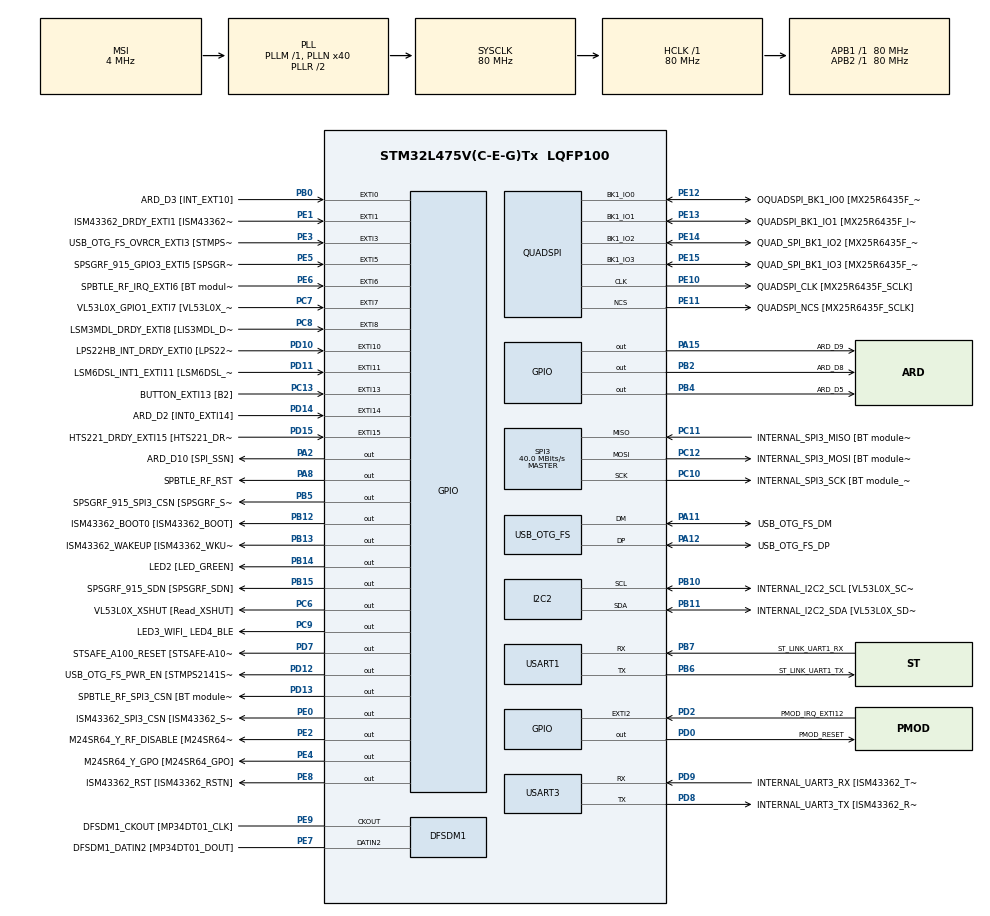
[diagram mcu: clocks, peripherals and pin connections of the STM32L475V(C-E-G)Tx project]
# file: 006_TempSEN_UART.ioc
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Mcu.Family=STM32L4
Mcu.Name=STM32L475V(C-E-G)Tx
Mcu.Package=LQFP100
NVIC.EXTI15_10_IRQn=true\:0\:0\:false\:false\:true\:true\:true\:true
NVIC.EXTI9_5_IRQn=true\:0\:0\:false\:false\:true\:true\:true\:true
NVIC.PriorityGroup=NVIC_PRIORITYGROUP_4
PA0.GPIO_Label=ARD_D1 [UART4_TX]
PA0.Signal=UART4_TX
PA1.GPIO_Label=ARD_D0 [UART4_RX]
PA1.Signal=UART4_RX
PA10.GPIO_Label=USB_OTG_FS_ID
PA10.Signal=USB_OTG_FS_ID
PA11.GPIO_Label=USB_OTG_FS_DM
PA11.Mode=Device_Only
PA11.Signal=USB_OTG_FS_DM
PA12.GPIO_Label=USB_OTG_FS_DP
PA12.Mode=Device_Only
PA12.Signal=USB_OTG_FS_DP
PA13\ (JTMS-SWDIO).GPIO_Label=SYS_JTMS_SWDIO
PA13\ (JTMS-SWDIO).Mode=Serial_Wire
PA13\ (JTMS-SWDIO).Signal=SYS_JTMS-SWDIO
PA14\ (JTCK-SWCLK).GPIO_Label=SYS_JTCK_SWCLK
PA14\ (JTCK-SWCLK).Mode=Serial_Wire
PA14\ (JTCK-SWCLK).Signal=SYS_JTCK-SWCLK
PA15\ (JTDI).GPIO_Label=ARD_D9
PA15\ (JTDI).Signal=GPIO_Output
PA2.GPIO_Label=ARD_D10 [SPI_SSN]
PA2.Signal=GPIO_Output
PA3.GPIO_Label=ARD_D4
PA3.Signal=S_TIM2_CH4
PA4.GPIO_Label=ARD_D7
PA4.Signal=ADCx_IN9
PA5.GPIO_Label=ARD_D13 [SPI1_SCK]
PA5.Signal=SPI1_SCK
PA6.GPIO_Label=ARD_D12 [SPI1_MISO]
PA6.Signal=SPI1_MISO
PA7.GPIO_Label=ARD_D11 [SPI1_MOSI]
PA7.Signal=SPI1_MOSI
PA8.GPIO_Label=SPBTLE_RF_RST
PA8.Signal=GPIO_Output
PA9.GPIO_Label=USB_OTG_FS_VBUS [STMPS2141STR_OUT]
PA9.Signal=USB_OTG_FS_VBUS
PB0.GPIO_Label=ARD_D3 [INT_EXT10]
PB0.Signal=GPXTI0
PB1.GPIO_Label=ARD_D6 [ADC1_IN6]
PB1.Signal=ADCx_IN16
PB10.GPIO_Label=INTERNAL_I2C2_SCL [VL53L0X_SCL]
PB10.GPIO_Pu=GPIO_PULLUP
PB10.Mode=I2C
PB10.Signal=I2C2_SCL
PB11.GPIO_Label=INTERNAL_I2C2_SDA [VL53L0X_SDA]
PB11.GPIO_Pu=GPIO_PULLUP
PB11.Mode=I2C
PB11.Signal=I2C2_SDA
PB12.GPIO_Label=ISM43362_BOOT0 [ISM43362_BOOT]
PB12.Signal=GPIO_Output
PB13.GPIO_Label=ISM43362_WAKEUP [ISM43362_WKUP]
PB13.Signal=GPIO_Output
PB14.GPIO_Label=LED2 [LED_GREEN]
PB14.Signal=GPIO_Output
PB15.GPIO_Label=SPSGRF_915_SDN [SPSGRF_SDN]
PB15.Signal=GPIO_Output
PB2.GPIO_Label=ARD_D8
PB2.Signal=GPIO_Output
PB3\ (JTDO-TRACESWO).GPIO_Label=SYS_JTD0_SWO
PB3\ (JTDO-TRACESWO).Signal=SYS_JTDO-SWO
PB4\ (NJTRST).GPIO_Label=ARD_D5
PB4\ (NJTRST).Signal=GPIO_Output
PB5.GPIO_Label=SPSGRF_915_SPI3_CSN [SPSGRF_SPI_CS]
PB5.PinState=GPIO_PIN_SET
PB5.Signal=GPIO_Output
PB6.GPIO_Label=ST_LINK_UART1_TX
PB6.Mode=Asynchronous
PB6.Signal=USART1_TX
PB7.GPIO_Label=ST_LINK_UART1_RX
PB7.Mode=Asynchronous
PB7.Signal=USART1_RX
PB8.GPIO_Label=ARD_D15 [I2C1_SCL]
PB8.Signal=I2C1_SCL
PB9.GPIO_Label=ARD_D14 [I2C1_SDA]
PB9.Signal=I2C1_SDA
PC0.GPIO_Label=ARD_A5 [ADC]
PC0.Signal=ADCx_IN1
PC1.GPIO_Label=ARD_A4 [ADC]
PC1.Signal=ADCx_IN2
PC10.GPIO_Label=INTERNAL_SPI3_SCK [BT module_SPI_SCLK] [ISM43362_SCK]
PC10.Mode=Full_Duplex_Master
PC10.Signal=SPI3_SCK
PC11.GPIO_Label=INTERNAL_SPI3_MISO [BT module_SPI_MISO] [ISM43362_MISO]
PC11.Mode=Full_Duplex_Master
PC11.Signal=SPI3_MISO
PC12.GPIO_Label=INTERNAL_SPI3_MOSI [BT module_SPI_MOSI] [ISM43362_MOSI]
PC12.Mode=Full_Duplex_Master
PC12.Signal=SPI3_MOSI
PC13.GPIO_Label=BUTTON_EXTI13 [B2]
PC13.GPIO_ModeDefaultEXTI=GPIO_MODE_IT_FALLING
PC13.Signal=GPXTI13
PC14-OSC32_IN\ (PC14).Mode=LSE-External-Oscillator
PC14-OSC32_IN\ (PC14).Signal=RCC_OSC32_IN
PC15-OSC32_OUT\ (PC15).Mode=LSE-External-Oscillator
PC15-OSC32_OUT\ (PC15).Signal=RCC_OSC32_OUT
PC2.GPIO_Label=ARD_A3 [ADC]
PC2.Signal=ADCx_IN3
PC3.GPIO_Label=ARD_A2 [ADC]
PC3.Signal=ADCx_IN4
PC4.GPIO_Label=ARD_A1 [ADC]
PC4.Signal=ADCx_IN13
PC5.GPIO_Label=ARD_A0 [ADC]
PC5.Signal=ADCx_IN14
PC6.GPIO_Label=VL53L0X_XSHUT [Read_XSHUT]
PC6.Signal=GPIO_Output
PC7.GPIO_Label=VL53L0X_GPIO1_EXTI7 [VL53L0X_GPIO1]
PC7.Signal=GPXTI7
PC8.GPIO_Label=LSM3MDL_DRDY_EXTI8 [LIS3MDL_DRDY]
PC8.Signal=GPXTI8
PC9.GPIO_Label=LED3_WIFI_ LED4_BLE
PC9.Signal=GPIO_Output
PD0.GPIO_Label=PMOD_RESET
PD0.Signal=GPIO_Output
PD1.GPIO_Label=PMOD_SPI2_SCK
PD1.Signal=SPI2_SCK
PD10.GPIO_Label=LPS22HB_INT_DRDY_EXTI0 [LPS22HB_INT_DRDY] 
PD10.Signal=GPXTI10
PD11.GPIO_Label=LSM6DSL_INT1_EXTI11 [LSM6DSL_INT1]
PD11.Signal=GPXTI11
PD12.GPIO_Label=USB_OTG_FS_PWR_EN [STMPS2141STR_EN]
PD12.Signal=GPIO_Output
PD13.GPIO_Label=SPBTLE_RF_SPI3_CSN [BT module_SPI_CS]
PD13.PinState=GPIO_PIN_SET
PD13.Signal=GPIO_Output
PD14.GPIO_Label=ARD_D2 [INT0_EXTI14]
PD14.Signal=GPXTI14
PD15.GPIO_Label=HTS221_DRDY_EXTI15 [HTS221_DRDY]
PD15.Signal=GPXTI15
PD2.GPIO_Label=PMOD_IRQ_EXTI12
PD2.Signal=GPXTI2
PD3.GPIO_Label=PMOD_UART2_CTS
PD3.Signal=USART2_CTS
PD4.GPIO_Label=PMOD_UART2_RTS
PD4.Signal=USART2_RTS
PD5.GPIO_Label=PMOD_UART2_TX
PD5.Signal=USART2_TX
PD6.GPIO_Label=PMOD_UART2_RX
PD6.Signal=USART2_RX
PD7.GPIO_Label=STSAFE_A100_RESET [STSAFE-A100_RESET]
PD7.Signal=GPIO_Output
PD8.GPIO_Label=INTERNAL_UART3_TX [ISM43362_RX]
PD8.Mode=Asynchronous
PD8.Signal=USART3_TX
PD9.GPIO_Label=INTERNAL_UART3_RX [ISM43362_TX]
PD9.Mode=Asynchronous
PD9.Signal=USART3_RX
PE0.GPIO_Label=ISM43362_SPI3_CSN [ISM43362_SSN]
PE0.PinState=GPIO_PIN_SET
PE0.Signal=GPIO_Output
PE1.GPIO_Label=ISM43362_DRDY_EXTI1 [ISM43362_DATARDY]
PE1.Signal=GPXTI1
PE10.GPIO_Label=QUADSPI_CLK [MX25R6435F_SCLK]
PE10.Mode=Single Bank
PE10.Signal=QUADSPI_CLK
PE11.GPIO_Label=QUADSPI_NCS [MX25R6435F_SCLK]
PE11.Mode=Single Bank
PE11.Signal=QUADSPI_NCS
PE12.GPIO_Label=OQUADSPI_BK1_IO0 [MX25R6435F_IO0]
PE12.Mode=Single Bank
PE12.Signal=QUADSPI_BK1_IO0
PE13.GPIO_Label=QUADSPI_BK1_IO1 [MX25R6435F_IO1]
PE13.Mode=Single Bank
PE13.Signal=QUADSPI_BK1_IO1
PE14.GPIO_Label=QUAD_SPI_BK1_IO2 [MX25R6435F_IO2]
PE14.Mode=Single Bank
PE14.Signal=QUADSPI_BK1_IO2
PE15.GPIO_Label=QUAD_SPI_BK1_IO3 [MX25R6435F_IO3]
PE15.Mode=Single Bank
PE15.Signal=QUADSPI_BK1_IO3
PE2.GPIO_Label=M24SR64_Y_RF_DISABLE [M24SR64_RFDIS]
PE2.Signal=GPIO_Output
PE3.GPIO_Label=USB_OTG_FS_OVRCR_EXTI3 [STMPS2141STR_FAULT]
PE3.Signal=GPXTI3
PE4.GPIO_Label=M24SR64_Y_GPO [M24SR64_GPO]
PE4.Signal=GPIO_Output
PE5.GPIO_Label=SPSGRF_915_GPIO3_EXTI5 [SPSGRF_GPIO_3]
PE5.Signal=GPXTI5
PE6.GPIO_Label=SPBTLE_RF_IRQ_EXTI6 [BT module_SPI_IRQ]
PE6.Signal=GPXTI6
PE7.GPIO_Label=DFSDM1_DATIN2 [MP34DT01_DOUT]
PE7.Signal=S_DATAIN2DFSDM1
PE8.GPIO_Label=ISM43362_RST [ISM43362_RSTN]
PE8.Signal=GPIO_Output
PE9.GPIO_Label=DFSDM1_CKOUT [MP34DT01_CLK]
PE9.Signal=S_CKOUTDFSDM1
ProjectManager.HeapSize=0x200
ProjectManager.StackSize=0x400
ProjectManager.TargetToolchain=STM32CubeIDE
QUADSPI.ClockPrescaler=2
QUADSPI.FifoThreshold=4
QUADSPI.FlashSize=23
QUADSPI.SampleShifting=QSPI_SAMPLE_SHIFTING_HALFCYCLE
RCC.ADCFreq_Value=48000000
RCC.AHBFreq_Value=80000000
RCC.APB1Freq_Value=80000000
RCC.APB1TimFreq_Value=80000000
RCC.APB2Freq_Value=80000000
RCC.APB2TimFreq_Value=80000000
RCC.CortexFreq_Value=80000000
RCC.HCLKFreq_Value=80000000
RCC.HSE_VALUE=8000000
RCC.HSI_VALUE=16000000
RCC.MSI_VALUE=4000000
RCC.PLLN=40
RCC.PLLSAI1N=24
RCC.SYSCLKFreq_VALUE=80000000
RCC.SYSCLKSource=RCC_SYSCLKSOURCE_PLLCLK
RCC.USBFreq_Value=48000000
RCC.VCOOutputFreq_Value=160000000
SH.ADCx_IN1.0=ADC1_IN1
SH.ADCx_IN13.0=ADC1_IN13
SH.ADCx_IN14.0=ADC1_IN14
SH.ADCx_IN16.0=ADC1_IN16
SH.ADCx_IN2.0=ADC1_IN2
SH.ADCx_IN3.0=ADC1_IN3
SH.ADCx_IN4.0=ADC1_IN4
SH.ADCx_IN9.0=ADC1_IN9
SH.S_CKOUTDFSDM1.0=DFSDM1_CKOUT,CKOUT
SH.S_CKOUTDFSDM1.1=DFSDM1_CKOUT,PDM_SPI_Input_from_ch12_and_Internal_Clock
SH.S_DATAIN2DFSDM1.0=DFSDM1_DATIN2,PDM_SPI_Input_from_ch12_and_Internal_Clock
SH.S_TIM2_CH4.0=TIM2_CH4
SPI3.CalculateBaudRate=40.0 MBits/s
SPI3.Direction=SPI_DIRECTION_2LINES
SPI3.Mode=SPI_MODE_MASTER
SPI3.VirtualType=VM_MASTER
USART1.VirtualMode-Asynchronous=VM_ASYNC
USART3.VirtualMode-Asynchronous=VM_ASYNC
USB_OTG_FS.VirtualMode=Device_Only
board=B-L475E-IOT01A2

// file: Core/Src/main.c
/* USER CODE BEGIN Header */
/**
  ******************************************************************************
  * @file           : main.c
  * @brief          : Main program body
  ******************************************************************************
  * @attention
  *
  * Copyright (c) 2024 STMicroelectronics.
  * All rights reserved.
  *
  * This software is licensed under terms that can be found in the LICENSE file
  * in the root directory of this software component.
  * If no LICENSE file comes with this software, it is provided AS-IS.
  *
  ******************************************************************************
  */
/* USER CODE END Header */
#include "main.h"

/* USER CODE BEGIN Includes */
#include "stm32l475e_iot01.h"
#include "stm32l475e_iot01_tsensor.h"
#include <math.h>
/* USER CODE END Includes */

DFSDM_Channel_HandleTypeDef hdfsdm1_channel1;

I2C_HandleTypeDef hi2c2;

QSPI_HandleTypeDef hqspi;

SPI_HandleTypeDef hspi3;

UART_HandleTypeDef huart1;
UART_HandleTypeDef huart3;

PCD_HandleTypeDef hpcd_USB_OTG_FS;

/* USER CODE BEGIN PV */
float temp_value = 0;  // Measured temperature value
char str_tmp[100] = ""; // Formatted message to display the temperature value
uint8_t msg0[] = "$$$$$$ A Project by @Balaji303 $$$$$$\n\n\r";
uint8_t msg1[] = "****** Temperature values measurement ******\n\n\r";
uint8_t msg2[] = "=====> Initialize Temperature sensor HTS221 \r\n";
uint8_t msg3[] = "=====> Temperature sensor HTS221 initialized \r\n ";

uint8_t art0[] = "       ,.,\r\n ";
uint8_t art1[] = "      MMMM_    ,..,\r\n ";
uint8_t art2[] = "        \"_ \"__\"MMMMM          ,...,,\r\n ";
uint8_t art3[] = " ,..., __.\" --\"    ,.,     _-\"MMMMMMM\r\n ";
uint8_t art4[] = "MMMMMM\"___ \"_._   MMM\"_.\"\" _ \"\"\"\"\"\"\r\n ";
uint8_t art5[] = "  \"\"\"\"\"    \"\" , \_.   \"_. .\"\r\n ";
uint8_t art6[] = "        ,., _\"__ \__./ .\"\r\n ";
uint8_t art7[] = "       MMMMM_\"  \"_    ./\r\n ";
uint8_t art8[] = "        ''''      (    )\r\n ";
uint8_t art9[] = " ._______________.-'____\"---._.\r\n ";
uint8_t art10[] = "  \\       @Balaji303         /\r\n ";
uint8_t art11[] = "   \\________________________/\r\n";
uint8_t art12[] = "    (_)                    (_)\r\n ";

/* USER CODE END PV */

void SystemClock_Config(void);
static void MX_GPIO_Init(void);
static void MX_DFSDM1_Init(void);
static void MX_I2C2_Init(void);
static void MX_QUADSPI_Init(void);
static void MX_SPI3_Init(void);
static void MX_USART1_UART_Init(void);
static void MX_USART3_UART_Init(void);
static void MX_USB_OTG_FS_PCD_Init(void);

int main(void)
{

  /* MCU Configuration--------------------------------------------------------*/

  /* Reset of all peripherals, Initializes the Flash interface and the Systick. */
  HAL_Init();

  /* Configure the system clock */
  SystemClock_Config();

  /* Initialize all configured peripherals */
  MX_GPIO_Init();
  MX_DFSDM1_Init();
  MX_I2C2_Init();
  MX_QUADSPI_Init();
  MX_SPI3_Init();
  MX_USART1_UART_Init();
  MX_USART3_UART_Init();
  MX_USB_OTG_FS_PCD_Init();
  /* USER CODE BEGIN 2 */
  HAL_UART_Transmit(&huart1,art0,sizeof(art0),1000);
  HAL_UART_Transmit(&huart1,art1,sizeof(art1),1000);
  HAL_UART_Transmit(&huart1,art2,sizeof(art2),1000);
  HAL_UART_Transmit(&huart1,art3,sizeof(art3),1000);
  HAL_UART_Transmit(&huart1,art4,sizeof(art4),1000);
  HAL_UART_Transmit(&huart1,art5,sizeof(art5),1000);
  HAL_UART_Transmit(&huart1,art6,sizeof(art6),1000);
  HAL_UART_Transmit(&huart1,art7,sizeof(art7),1000);
  HAL_UART_Transmit(&huart1,art8,sizeof(art8),1000);
  HAL_UART_Transmit(&huart1,art9,sizeof(art9),1000);
  HAL_UART_Transmit(&huart1,art10,sizeof(art10),1000);
  HAL_UART_Transmit(&huart1,art11,sizeof(art11),1000);
  HAL_UART_Transmit(&huart1,art12,sizeof(art12),1000);

  HAL_UART_Transmit(&huart1,msg0,sizeof(msg1),1000);
  HAL_UART_Transmit(&huart1,msg1,sizeof(msg1),1000);
  HAL_UART_Transmit(&huart1,msg2,sizeof(msg2),1000);
  BSP_TSENSOR_Init();
  HAL_UART_Transmit(&huart1,msg3,sizeof(msg3),1000);
  /* USER CODE END 2 */

  /* Infinite loop */
  while (1)
  {

    /* USER CODE BEGIN 3 */
	  temp_value = BSP_TSENSOR_ReadTemp();
	  int tmpInt1 = temp_value;
	  float tmpFrac = temp_value - tmpInt1;
	  int tmpInt2 = trunc(tmpFrac * 100);
	  snprintf(str_tmp,100," TEMPERATURE = %d.%02d\n\r", tmpInt1, tmpInt2);
	  HAL_UART_Transmit(&huart1,( uint8_t *)str_tmp,sizeof(str_tmp),1000);
	  HAL_Delay(1000);
  }
  /* USER CODE END 3 */
}

void SystemClock_Config(void)
{
  RCC_OscInitTypeDef RCC_OscInitStruct = {0};
  RCC_ClkInitTypeDef RCC_ClkInitStruct = {0};

  /** Configure the main internal regulator output voltage
  */
  if (HAL_PWREx_ControlVoltageScaling(PWR_REGULATOR_VOLTAGE_SCALE1) != HAL_OK)
  {
    Error_Handler();
  }

  /** Configure LSE Drive Capability
  */
  HAL_PWR_EnableBkUpAccess();
  __HAL_RCC_LSEDRIVE_CONFIG(RCC_LSEDRIVE_LOW);

  /** Initializes the RCC Oscillators according to the specified parameters
  * in the RCC_OscInitTypeDef structure.
  */
  RCC_OscInitStruct.OscillatorType = RCC_OSCILLATORTYPE_LSE|RCC_OSCILLATORTYPE_MSI;
  RCC_OscInitStruct.LSEState = RCC_LSE_ON;
  RCC_OscInitStruct.MSIState = RCC_MSI_ON;
  RCC_OscInitStruct.MSICalibrationValue = 0;
  RCC_OscInitStruct.MSIClockRange = RCC_MSIRANGE_6;
  RCC_OscInitStruct.PLL.PLLState = RCC_PLL_ON;
  RCC_OscInitStruct.PLL.PLLSource = RCC_PLLSOURCE_MSI;
  RCC_OscInitStruct.PLL.PLLM = 1;
  RCC_OscInitStruct.PLL.PLLN = 40;
  RCC_OscInitStruct.PLL.PLLP = RCC_PLLP_DIV7;
  RCC_OscInitStruct.PLL.PLLQ = RCC_PLLQ_DIV2;
  RCC_OscInitStruct.PLL.PLLR = RCC_PLLR_DIV2;
  if (HAL_RCC_OscConfig(&RCC_OscInitStruct) != HAL_OK)
  {
    Error_Handler();
  }

  /** Initializes the CPU, AHB and APB buses clocks
  */
  RCC_ClkInitStruct.ClockType = RCC_CLOCKTYPE_HCLK|RCC_CLOCKTYPE_SYSCLK
                              |RCC_CLOCKTYPE_PCLK1|RCC_CLOCKTYPE_PCLK2;
  RCC_ClkInitStruct.SYSCLKSource = RCC_SYSCLKSOURCE_PLLCLK;
  RCC_ClkInitStruct.AHBCLKDivider = RCC_SYSCLK_DIV1;
  RCC_ClkInitStruct.APB1CLKDivider = RCC_HCLK_DIV1;
  RCC_ClkInitStruct.APB2CLKDivider = RCC_HCLK_DIV1;

  if (HAL_RCC_ClockConfig(&RCC_ClkInitStruct, FLASH_LATENCY_4) != HAL_OK)
  {
    Error_Handler();
  }

  /** Enable MSI Auto calibration
  */
  HAL_RCCEx_EnableMSIPLLMode();
}

static void MX_DFSDM1_Init(void)
{

  hdfsdm1_channel1.Instance = DFSDM1_Channel1;
  hdfsdm1_channel1.Init.OutputClock.Activation = ENABLE;
  hdfsdm1_channel1.Init.OutputClock.Selection = DFSDM_CHANNEL_OUTPUT_CLOCK_SYSTEM;
  hdfsdm1_channel1.Init.OutputClock.Divider = 2;
  hdfsdm1_channel1.Init.Input.Multiplexer = DFSDM_CHANNEL_EXTERNAL_INPUTS;
  hdfsdm1_channel1.Init.Input.DataPacking = DFSDM_CHANNEL_STANDARD_MODE;
  hdfsdm1_channel1.Init.Input.Pins = DFSDM_CHANNEL_FOLLOWING_CHANNEL_PINS;
  hdfsdm1_channel1.Init.SerialInterface.Type = DFSDM_CHANNEL_SPI_RISING;
  hdfsdm1_channel1.Init.SerialInterface.SpiClock = DFSDM_CHANNEL_SPI_CLOCK_INTERNAL;
  hdfsdm1_channel1.Init.Awd.FilterOrder = DFSDM_CHANNEL_FASTSINC_ORDER;
  hdfsdm1_channel1.Init.Awd.Oversampling = 1;
  hdfsdm1_channel1.Init.Offset = 0;
  hdfsdm1_channel1.Init.RightBitShift = 0x00;
  if (HAL_DFSDM_ChannelInit(&hdfsdm1_channel1) != HAL_OK)
  {
    Error_Handler();
  }

}

static void MX_I2C2_Init(void)
{

  hi2c2.Instance = I2C2;
  hi2c2.Init.Timing = 0x00000E14;
  hi2c2.Init.OwnAddress1 = 0;
  hi2c2.Init.AddressingMode = I2C_ADDRESSINGMODE_7BIT;
  hi2c2.Init.DualAddressMode = I2C_DUALADDRESS_DISABLE;
  hi2c2.Init.OwnAddress2 = 0;
  hi2c2.Init.OwnAddress2Masks = I2C_OA2_NOMASK;
  hi2c2.Init.GeneralCallMode = I2C_GENERALCALL_DISABLE;
  hi2c2.Init.NoStretchMode = I2C_NOSTRETCH_DISABLE;
  if (HAL_I2C_Init(&hi2c2) != HAL_OK)
  {
    Error_Handler();
  }

  /** Configure Analogue filter
  */
  if (HAL_I2CEx_ConfigAnalogFilter(&hi2c2, I2C_ANALOGFILTER_ENABLE) != HAL_OK)
  {
    Error_Handler();
  }

  /** Configure Digital filter
  */
  if (HAL_I2CEx_ConfigDigitalFilter(&hi2c2, 0) != HAL_OK)
  {
    Error_Handler();
  }

}

static void MX_QUADSPI_Init(void)
{

  /* QUADSPI parameter configuration*/
  hqspi.Instance = QUADSPI;
  hqspi.Init.ClockPrescaler = 2;
  hqspi.Init.FifoThreshold = 4;
  hqspi.Init.SampleShifting = QSPI_SAMPLE_SHIFTING_HALFCYCLE;
  hqspi.Init.FlashSize = 23;
  hqspi.Init.ChipSelectHighTime = QSPI_CS_HIGH_TIME_1_CYCLE;
  hqspi.Init.ClockMode = QSPI_CLOCK_MODE_0;
  if (HAL_QSPI_Init(&hqspi) != HAL_OK)
  {
    Error_Handler();
  }

}

static void MX_SPI3_Init(void)
{

  /* SPI3 parameter configuration*/
  hspi3.Instance = SPI3;
  hspi3.Init.Mode = SPI_MODE_MASTER;
  hspi3.Init.Direction = SPI_DIRECTION_2LINES;
  hspi3.Init.DataSize = SPI_DATASIZE_4BIT;
  hspi3.Init.CLKPolarity = SPI_POLARITY_LOW;
  hspi3.Init.CLKPhase = SPI_PHASE_1EDGE;
  hspi3.Init.NSS = SPI_NSS_SOFT;
  hspi3.Init.BaudRatePrescaler = SPI_BAUDRATEPRESCALER_2;
  hspi3.Init.FirstBit = SPI_FIRSTBIT_MSB;
  hspi3.Init.TIMode = SPI_TIMODE_DISABLE;
  hspi3.Init.CRCCalculation = SPI_CRCCALCULATION_DISABLE;
  hspi3.Init.CRCPolynomial = 7;
  hspi3.Init.CRCLength = SPI_CRC_LENGTH_DATASIZE;
  hspi3.Init.NSSPMode = SPI_NSS_PULSE_ENABLE;
  if (HAL_SPI_Init(&hspi3) != HAL_OK)
  {
    Error_Handler();
  }

}

static void MX_USART1_UART_Init(void)
{

  huart1.Instance = USART1;
  huart1.Init.BaudRate = 115200;
  huart1.Init.WordLength = UART_WORDLENGTH_8B;
  huart1.Init.StopBits = UART_STOPBITS_1;
  huart1.Init.Parity = UART_PARITY_NONE;
  huart1.Init.Mode = UART_MODE_TX_RX;
  huart1.Init.HwFlowCtl = UART_HWCONTROL_NONE;
  huart1.Init.OverSampling = UART_OVERSAMPLING_16;
  huart1.Init.OneBitSampling = UART_ONE_BIT_SAMPLE_DISABLE;
  huart1.AdvancedInit.AdvFeatureInit = UART_ADVFEATURE_NO_INIT;
  if (HAL_UART_Init(&huart1) != HAL_OK)
  {
    Error_Handler();
  }

}

static void MX_USART3_UART_Init(void)
{

  huart3.Instance = USART3;
  huart3.Init.BaudRate = 115200;
  huart3.Init.WordLength = UART_WORDLENGTH_8B;
  huart3.Init.StopBits = UART_STOPBITS_1;
  huart3.Init.Parity = UART_PARITY_NONE;
  huart3.Init.Mode = UART_MODE_TX_RX;
  huart3.Init.HwFlowCtl = UART_HWCONTROL_NONE;
  huart3.Init.OverSampling = UART_OVERSAMPLING_16;
  huart3.Init.OneBitSampling = UART_ONE_BIT_SAMPLE_DISABLE;
  huart3.AdvancedInit.AdvFeatureInit = UART_ADVFEATURE_NO_INIT;
  if (HAL_UART_Init(&huart3) != HAL_OK)
  {
    Error_Handler();
  }

}

static void MX_USB_OTG_FS_PCD_Init(void)
{

  hpcd_USB_OTG_FS.Instance = USB_OTG_FS;
  hpcd_USB_OTG_FS.Init.dev_endpoints = 6;
  hpcd_USB_OTG_FS.Init.speed = PCD_SPEED_FULL;
  hpcd_USB_OTG_FS.Init.phy_itface = PCD_PHY_EMBEDDED;
  hpcd_USB_OTG_FS.Init.Sof_enable = DISABLE;
  hpcd_USB_OTG_FS.Init.low_power_enable = DISABLE;
  hpcd_USB_OTG_FS.Init.lpm_enable = DISABLE;
  hpcd_USB_OTG_FS.Init.battery_charging_enable = DISABLE;
  hpcd_USB_OTG_FS.Init.use_dedicated_ep1 = DISABLE;
  hpcd_USB_OTG_FS.Init.vbus_sensing_enable = DISABLE;
  if (HAL_PCD_Init(&hpcd_USB_OTG_FS) != HAL_OK)
  {
    Error_Handler();
  }

}

static void MX_GPIO_Init(void)
{
  GPIO_InitTypeDef GPIO_InitStruct = {0};

  /* GPIO Ports Clock Enable */
  __HAL_RCC_GPIOE_CLK_ENABLE();
  __HAL_RCC_GPIOC_CLK_ENABLE();
  __HAL_RCC_GPIOA_CLK_ENABLE();
  __HAL_RCC_GPIOB_CLK_ENABLE();
  __HAL_RCC_GPIOD_CLK_ENABLE();

  /*Configure GPIO pin Output Level */
  HAL_GPIO_WritePin(GPIOE, M24SR64_Y_RF_DISABLE_Pin|M24SR64_Y_GPO_Pin|ISM43362_RST_Pin, GPIO_PIN_RESET);

  /*Configure GPIO pin Output Level */
  HAL_GPIO_WritePin(GPIOA, ARD_D10_Pin|SPBTLE_RF_RST_Pin|ARD_D9_Pin, GPIO_PIN_RESET);

  /*Configure GPIO pin Output Level */
  HAL_GPIO_WritePin(GPIOB, ARD_D8_Pin|ISM43362_BOOT0_Pin|ISM43362_WAKEUP_Pin|LED2_Pin
                          |SPSGRF_915_SDN_Pin|ARD_D5_Pin, GPIO_PIN_RESET);

  /*Configure GPIO pin Output Level */
  HAL_GPIO_WritePin(GPIOD, USB_OTG_FS_PWR_EN_Pin|PMOD_RESET_Pin|STSAFE_A100_RESET_Pin, GPIO_PIN_RESET);

  /*Configure GPIO pin Output Level */
  HAL_GPIO_WritePin(SPBTLE_RF_SPI3_CSN_GPIO_Port, SPBTLE_RF_SPI3_CSN_Pin, GPIO_PIN_SET);

  /*Configure GPIO pin Output Level */
  HAL_GPIO_WritePin(GPIOC, VL53L0X_XSHUT_Pin|LED3_WIFI__LED4_BLE_Pin, GPIO_PIN_RESET);

  /*Configure GPIO pin Output Level */
  HAL_GPIO_WritePin(SPSGRF_915_SPI3_CSN_GPIO_Port, SPSGRF_915_SPI3_CSN_Pin, GPIO_PIN_SET);

  /*Configure GPIO pin Output Level */
  HAL_GPIO_WritePin(ISM43362_SPI3_CSN_GPIO_Port, ISM43362_SPI3_CSN_Pin, GPIO_PIN_SET);

  /*Configure GPIO pins : M24SR64_Y_RF_DISABLE_Pin M24SR64_Y_GPO_Pin ISM43362_RST_Pin ISM43362_SPI3_CSN_Pin */
  GPIO_InitStruct.Pin = M24SR64_Y_RF_DISABLE_Pin|M24SR64_Y_GPO_Pin|ISM43362_RST_Pin|ISM43362_SPI3_CSN_Pin;
  GPIO_InitStruct.Mode = GPIO_MODE_OUTPUT_PP;
  GPIO_InitStruct.Pull = GPIO_NOPULL;
  GPIO_InitStruct.Speed = GPIO_SPEED_FREQ_LOW;
  HAL_GPIO_Init(GPIOE, &GPIO_InitStruct);

  /*Configure GPIO pins : USB_OTG_FS_OVRCR_EXTI3_Pin SPSGRF_915_GPIO3_EXTI5_Pin SPBTLE_RF_IRQ_EXTI6_Pin ISM43362_DRDY_EXTI1_Pin */
  GPIO_InitStruct.Pin = USB_OTG_FS_OVRCR_EXTI3_Pin|SPSGRF_915_GPIO3_EXTI5_Pin|SPBTLE_RF_IRQ_EXTI6_Pin|ISM43362_DRDY_EXTI1_Pin;
  GPIO_InitStruct.Mode = GPIO_MODE_IT_RISING;
  GPIO_InitStruct.Pull = GPIO_NOPULL;
  HAL_GPIO_Init(GPIOE, &GPIO_InitStruct);

  /*Configure GPIO pin : BUTTON_EXTI13_Pin */
  GPIO_InitStruct.Pin = BUTTON_EXTI13_Pin;
  GPIO_InitStruct.Mode = GPIO_MODE_IT_FALLING;
  GPIO_InitStruct.Pull = GPIO_NOPULL;
  HAL_GPIO_Init(BUTTON_EXTI13_GPIO_Port, &GPIO_InitStruct);

  /*Configure GPIO pins : ARD_A5_Pin ARD_A4_Pin ARD_A3_Pin ARD_A2_Pin
                           ARD_A1_Pin ARD_A0_Pin */
  GPIO_InitStruct.Pin = ARD_A5_Pin|ARD_A4_Pin|ARD_A3_Pin|ARD_A2_Pin
                          |ARD_A1_Pin|ARD_A0_Pin;
  GPIO_InitStruct.Mode = GPIO_MODE_ANALOG_ADC_CONTROL;
  GPIO_InitStruct.Pull = GPIO_NOPULL;
  HAL_GPIO_Init(GPIOC, &GPIO_InitStruct);

  /*Configure GPIO pins : ARD_D1_Pin ARD_D0_Pin */
  GPIO_InitStruct.Pin = ARD_D1_Pin|ARD_D0_Pin;
  GPIO_InitStruct.Mode = GPIO_MODE_AF_PP;
  GPIO_InitStruct.Pull = GPIO_NOPULL;
  GPIO_InitStruct.Speed = GPIO_SPEED_FREQ_VERY_HIGH;
  GPIO_InitStruct.Alternate = GPIO_AF8_UART4;
  HAL_GPIO_Init(GPIOA, &GPIO_InitStruct);

  /*Configure GPIO pins : ARD_D10_Pin SPBTLE_RF_RST_Pin ARD_D9_Pin */
  GPIO_InitStruct.Pin = ARD_D10_Pin|SPBTLE_RF_RST_Pin|ARD_D9_Pin;
  GPIO_InitStruct.Mode = GPIO_MODE_OUTPUT_PP;
  GPIO_InitStruct.Pull = GPIO_NOPULL;
  GPIO_InitStruct.Speed = GPIO_SPEED_FREQ_LOW;
  HAL_GPIO_Init(GPIOA, &GPIO_InitStruct);

  /*Configure GPIO pin : ARD_D4_Pin */
  GPIO_InitStruct.Pin = ARD_D4_Pin;
  GPIO_InitStruct.Mode = GPIO_MODE_AF_PP;
  GPIO_InitStruct.Pull = GPIO_NOPULL;
  GPIO_InitStruct.Speed = GPIO_SPEED_FREQ_LOW;
  GPIO_InitStruct.Alternate = GPIO_AF1_TIM2;
  HAL_GPIO_Init(ARD_D4_GPIO_Port, &GPIO_InitStruct);

  /*Configure GPIO pin : ARD_D7_Pin */
  GPIO_InitStruct.Pin = ARD_D7_Pin;
  GPIO_InitStruct.Mode = GPIO_MODE_ANALOG_ADC_CONTROL;
  GPIO_InitStruct.Pull = GPIO_NOPULL;
  HAL_GPIO_Init(ARD_D7_GPIO_Port, &GPIO_InitStruct);

  /*Configure GPIO pins : ARD_D13_Pin ARD_D12_Pin ARD_D11_Pin */
  GPIO_InitStruct.Pin = ARD_D13_Pin|ARD_D12_Pin|ARD_D11_Pin;
  GPIO_InitStruct.Mode = GPIO_MODE_AF_PP;
  GPIO_InitStruct.Pull = GPIO_NOPULL;
  GPIO_InitStruct.Speed = GPIO_SPEED_FREQ_VERY_HIGH;
  GPIO_InitStruct.Alternate = GPIO_AF5_SPI1;
  HAL_GPIO_Init(GPIOA, &GPIO_InitStruct);

  /*Configure GPIO pin : ARD_D3_Pin */
  GPIO_InitStruct.Pin = ARD_D3_Pin;
  GPIO_InitStruct.Mode = GPIO_MODE_IT_RISING;
  GPIO_InitStruct.Pull = GPIO_NOPULL;
  HAL_GPIO_Init(ARD_D3_GPIO_Port, &GPIO_InitStruct);

  /*Configure GPIO pin : ARD_D6_Pin */
  GPIO_InitStruct.Pin = ARD_D6_Pin;
  GPIO_InitStruct.Mode = GPIO_MODE_ANALOG_ADC_CONTROL;
  GPIO_InitStruct.Pull = GPIO_NOPULL;
  HAL_GPIO_Init(ARD_D6_GPIO_Port, &GPIO_InitStruct);

  /*Configure GPIO pins : ARD_D8_Pin ISM43362_BOOT0_Pin ISM43362_WAKEUP_Pin LED2_Pin
                           SPSGRF_915_SDN_Pin ARD_D5_Pin SPSGRF_915_SPI3_CSN_Pin */
  GPIO_InitStruct.Pin = ARD_D8_Pin|ISM43362_BOOT0_Pin|ISM43362_WAKEUP_Pin|LED2_Pin
                          |SPSGRF_915_SDN_Pin|ARD_D5_Pin|SPSGRF_915_SPI3_CSN_Pin;
  GPIO_InitStruct.Mode = GPIO_MODE_OUTPUT_PP;
  GPIO_InitStruct.Pull = GPIO_NOPULL;
  GPIO_InitStruct.Speed = GPIO_SPEED_FREQ_LOW;
  HAL_GPIO_Init(GPIOB, &GPIO_InitStruct);

  /*Configure GPIO pins : LPS22HB_INT_DRDY_EXTI0_Pin LSM6DSL_INT1_EXTI11_Pin ARD_D2_Pin HTS221_DRDY_EXTI15_Pin
                           PMOD_IRQ_EXTI12_Pin */
  GPIO_InitStruct.Pin = LPS22HB_INT_DRDY_EXTI0_Pin|LSM6DSL_INT1_EXTI11_Pin|ARD_D2_Pin|HTS221_DRDY_EXTI15_Pin
                          |PMOD_IRQ_EXTI12_Pin;
  GPIO_InitStruct.Mode = GPIO_MODE_IT_RISING;
  GPIO_InitStruct.Pull = GPIO_NOPULL;
  HAL_GPIO_Init(GPIOD, &GPIO_InitStruct);

  /*Configure GPIO pins : USB_OTG_FS_PWR_EN_Pin SPBTLE_RF_SPI3_CSN_Pin PMOD_RESET_Pin STSAFE_A100_RESET_Pin */
  GPIO_InitStruct.Pin = USB_OTG_FS_PWR_EN_Pin|SPBTLE_RF_SPI3_CSN_Pin|PMOD_RESET_Pin|STSAFE_A100_RESET_Pin;
  GPIO_InitStruct.Mode = GPIO_MODE_OUTPUT_PP;
  GPIO_InitStruct.Pull = GPIO_NOPULL;
  GPIO_InitStruct.Speed = GPIO_SPEED_FREQ_LOW;
  HAL_GPIO_Init(GPIOD, &GPIO_InitStruct);

  /*Configure GPIO pins : VL53L0X_XSHUT_Pin LED3_WIFI__LED4_BLE_Pin */
  GPIO_InitStruct.Pin = VL53L0X_XSHUT_Pin|LED3_WIFI__LED4_BLE_Pin;
  GPIO_InitStruct.Mode = GPIO_MODE_OUTPUT_PP;
  GPIO_InitStruct.Pull = GPIO_NOPULL;
  GPIO_InitStruct.Speed = GPIO_SPEED_FREQ_LOW;
  HAL_GPIO_Init(GPIOC, &GPIO_InitStruct);

  /*Configure GPIO pins : VL53L0X_GPIO1_EXTI7_Pin LSM3MDL_DRDY_EXTI8_Pin */
  GPIO_InitStruct.Pin = VL53L0X_GPIO1_EXTI7_Pin|LSM3MDL_DRDY_EXTI8_Pin;
  GPIO_InitStruct.Mode = GPIO_MODE_IT_RISING;
  GPIO_InitStruct.Pull = GPIO_NOPULL;
  HAL_GPIO_Init(GPIOC, &GPIO_InitStruct);

  /*Configure GPIO pin : PMOD_SPI2_SCK_Pin */
  GPIO_InitStruct.Pin = PMOD_SPI2_SCK_Pin;
  GPIO_InitStruct.Mode = GPIO_MODE_AF_PP;
  GPIO_InitStruct.Pull = GPIO_NOPULL;
  GPIO_InitStruct.Speed = GPIO_SPEED_FREQ_VERY_HIGH;
  GPIO_InitStruct.Alternate = GPIO_AF5_SPI2;
  HAL_GPIO_Init(PMOD_SPI2_SCK_GPIO_Port, &GPIO_InitStruct);

  /*Configure GPIO pins : PMOD_UART2_CTS_Pin PMOD_UART2_RTS_Pin PMOD_UART2_TX_Pin PMOD_UART2_RX_Pin */
  GPIO_InitStruct.Pin = PMOD_UART2_CTS_Pin|PMOD_UART2_RTS_Pin|PMOD_UART2_TX_Pin|PMOD_UART2_RX_Pin;
  GPIO_InitStruct.Mode = GPIO_MODE_AF_PP;
  GPIO_InitStruct.Pull = GPIO_NOPULL;
  GPIO_InitStruct.Speed = GPIO_SPEED_FREQ_VERY_HIGH;
  GPIO_InitStruct.Alternate = GPIO_AF7_USART2;
  HAL_GPIO_Init(GPIOD, &GPIO_InitStruct);

  /*Configure GPIO pins : ARD_D15_Pin ARD_D14_Pin */
  GPIO_InitStruct.Pin = ARD_D15_Pin|ARD_D14_Pin;
  GPIO_InitStruct.Mode = GPIO_MODE_AF_OD;
  GPIO_InitStruct.Pull = GPIO_NOPULL;
  GPIO_InitStruct.Speed = GPIO_SPEED_FREQ_VERY_HIGH;
  GPIO_InitStruct.Alternate = GPIO_AF4_I2C1;
  HAL_GPIO_Init(GPIOB, &GPIO_InitStruct);

  /* EXTI interrupt init*/
  HAL_NVIC_SetPriority(EXTI9_5_IRQn, 0, 0);
  HAL_NVIC_EnableIRQ(EXTI9_5_IRQn);

  HAL_NVIC_SetPriority(EXTI15_10_IRQn, 0, 0);
  HAL_NVIC_EnableIRQ(EXTI15_10_IRQn);

}

void Error_Handler(void)
{
  __disable_irq();
  while (1)
  {
  }
}
